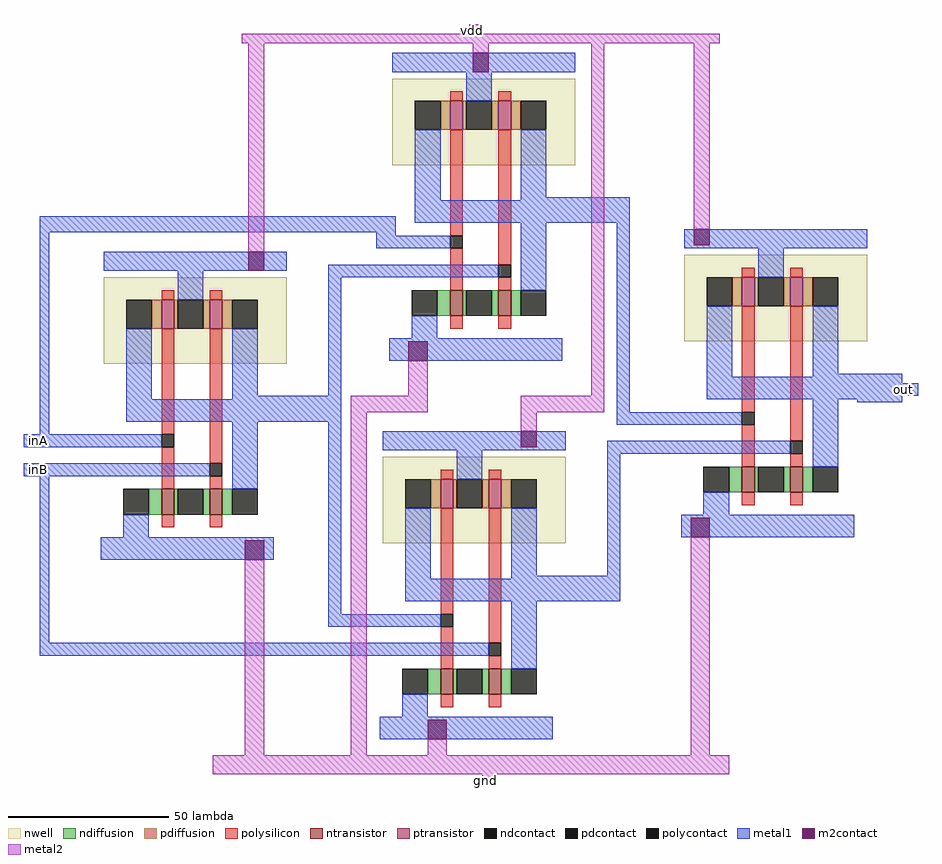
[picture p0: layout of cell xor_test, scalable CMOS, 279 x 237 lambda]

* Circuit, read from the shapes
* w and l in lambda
.subckt xor_test gnd inA inB out vdd
M1 n1 inA gnd VSUBS nfet w=8 l=4
M2 n2 inB n1 VSUBS nfet w=8 l=4
M3 n3 n2 gnd VSUBS nfet w=8 l=4
M4 n4 inA gnd VSUBS nfet w=8 l=4
M5 n5 inB n3 VSUBS nfet w=8 l=4
M6 n6 n2 n4 VSUBS nfet w=8 l=4
M7 n7 n6 gnd VSUBS nfet w=8 l=4
M8 out n5 n7 VSUBS nfet w=8 l=4
M9 vdd inA n2 n8 pfet w=9 l=4
M10 n2 inB vdd n8 pfet w=9 l=4
M11 vdd n2 n5 n9 pfet w=9 l=4
M12 vdd inA n6 n10 pfet w=9 l=4
M13 n5 inB vdd n9 pfet w=9 l=4
M14 n6 n2 vdd n10 pfet w=9 l=4
M15 vdd n6 out n11 pfet w=9 l=4
M16 out n5 vdd n11 pfet w=9 l=4
.ends

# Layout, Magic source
magic
tech scmos
<< metal1 >>
rect 265 107 274 111
rect -5 91 4 95
rect -5 82 4 86
<< metal2 >>
rect 134 218 138 223
rect 138 -14 142 -9
use xor  xor_0
transform 1 0 22 0 1 41
box -22 -52 247 179
<< labels >>
rlabel metal1 -5 91 4 95 3 inA
rlabel metal1 265 107 274 111 7 out
rlabel metal1 -5 82 4 86 3 inB
rlabel metal2 135 221 135 221 5 vdd
rlabel metal2 139 -13 139 -13 1 gnd
<< end >>

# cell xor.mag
magic
tech scmos
<< metal1 >>
rect -22 117 89 122
rect 144 120 162 128
rect -22 54 -19 117
rect 83 112 89 117
rect 68 103 90 107
rect 68 66 72 103
rect 51 58 72 66
rect -22 50 15 54
rect -22 41 -1 45
rect -22 -11 -19 41
rect 68 -2 72 58
rect 158 61 162 120
rect 233 64 247 73
rect 158 57 180 61
rect 155 48 178 52
rect 155 10 159 48
rect 140 2 159 10
rect 68 -6 84 -2
rect -22 -15 85 -11
<< m2contact >>
rect 113 167 118 173
rect 43 105 48 111
rect 93 77 99 83
rect 42 15 48 21
rect 182 113 187 118
rect 128 50 133 55
rect 181 22 187 28
rect 99 -41 105 -35
<< metal2 >>
rect 41 176 190 179
rect 43 111 48 176
rect 113 173 118 176
rect 93 66 99 77
rect 150 66 154 176
rect 182 118 187 176
rect 75 61 99 66
rect 128 61 154 66
rect 42 -46 48 15
rect 75 -46 80 61
rect 128 55 133 61
rect 99 -46 105 -41
rect 181 -46 187 22
rect 32 -52 193 -46
use nand  nand_0
transform 1 0 25 0 1 79
box -28 -64 30 32
use nand  nand_1
transform 1 0 115 0 1 141
box -28 -64 30 32
use nand  nand_2
transform 1 0 112 0 1 23
box -28 -64 30 32
use nand  nand_3
transform 1 0 206 0 1 86
box -28 -64 30 32
<< end >>

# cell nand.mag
magic
tech scmos
<< nwell >>
rect -27 -3 30 24
<< ntransistor >>
rect -9 -50 -5 -42
rect 6 -50 10 -42
<< ptransistor >>
rect -9 8 -5 17
rect 6 8 10 17
<< ndiffusion >>
rect -13 -50 -9 -42
rect -5 -50 -4 -42
rect 4 -50 6 -42
rect 10 -50 13 -42
<< pdiffusion >>
rect -12 8 -9 17
rect -5 8 -4 17
rect 4 8 6 17
rect 10 8 13 17
<< ndcontact >>
rect -21 -50 -13 -42
rect -4 -50 4 -42
rect 13 -50 21 -42
<< pdcontact >>
rect -20 8 -12 17
rect -4 8 4 17
rect 13 8 21 17
<< polysilicon >>
rect -9 17 -5 20
rect 6 17 10 20
rect -9 -25 -5 8
rect -9 -42 -5 -29
rect 6 -34 10 8
rect 6 -42 10 -38
rect -9 -54 -5 -50
rect 6 -54 10 -50
<< polycontact >>
rect -9 -29 -5 -25
rect 6 -38 10 -34
<< metal1 >>
rect -27 26 30 32
rect -4 17 4 26
rect -20 -14 -12 8
rect 13 -13 21 8
rect 13 -14 30 -13
rect -20 -21 30 -14
rect -28 -29 -9 -25
rect -28 -38 6 -34
rect 13 -42 21 -21
rect -21 -57 -13 -50
rect -28 -64 26 -57
<< end >>
